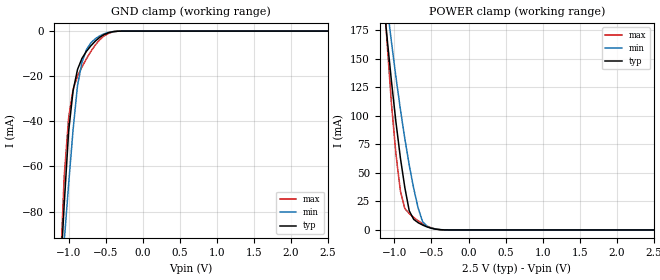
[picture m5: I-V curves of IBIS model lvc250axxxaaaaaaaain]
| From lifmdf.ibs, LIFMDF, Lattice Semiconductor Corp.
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|   Model lvc250axxxaaaaaaaain
[Model] lvc250axxxaaaaaaaain
Model_type Input
Polarity   Non-Inverting
Vinl =  0.700V
Vinh =  1.700V
C_comp   5.000pF   4.000pF   5.500pF
[Temperature Range]   25.000   0.125k   -40.000
[Voltage Range]   2.500V   2.380V   2.630V
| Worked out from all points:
|   GND clamp passes 1 mA (typ) near -0.48 V on its own axis
|   POWER clamp passes 1 mA (typ) near -0.47 V on its own axis
[GND_clamp]
|Voltage   I(typ)   I(min)   I(max)
-2.5V     -1.11A     -830.4mA   -1.508A
-1.12V    -113.2mA   -120.2mA   -111.9mA
-1.06V    -76.91mA   -93.41mA   -64.42mA
-1V       -44.35mA   -67.81mA   -38.46mA
-940mV    -26.44mA   -43.73mA   -25.84mA
-880mV    -17mA      -24.08mA   -19.92mA
-820mV    -12.07mA   -13.83mA   -15.88mA
-760mV    -8.998mA   -8.257mA   -12.27mA
-580mV    -2.762mA   -2.111mA   -3.825mA
-460mV    -702.7uA   -570.8uA   -955.8uA
-340mV    -67.3uA    -66.5uA    -79.08uA
2.5V      0A         0A         0A
[POWER_clamp]
|Voltage   I(typ)   I(min)   I(max)
-2.5V     1.335A     1.134A     2.299A
-1.16V    209.6mA    229.7mA    226.6mA
-1.1V     168.7mA    196.5mA    164.4mA
-1.04V    130.1mA    164.5mA    110.3mA
-980mV    94.59mA    134.1mA    66.45mA
-920mV    63.27mA    105.8mA    34.35mA
-860mV    37.18mA    79.96mA    18.78mA
-800mV    16.66mA    56.66mA    14.36mA
-680mV    6.381mA    19.15mA    8.023mA
-560mV    2.685mA    3.173mA    3.362mA
-380mV    223.7uA    310.4uA    250.2uA
2.5V      0A         0A         0A
